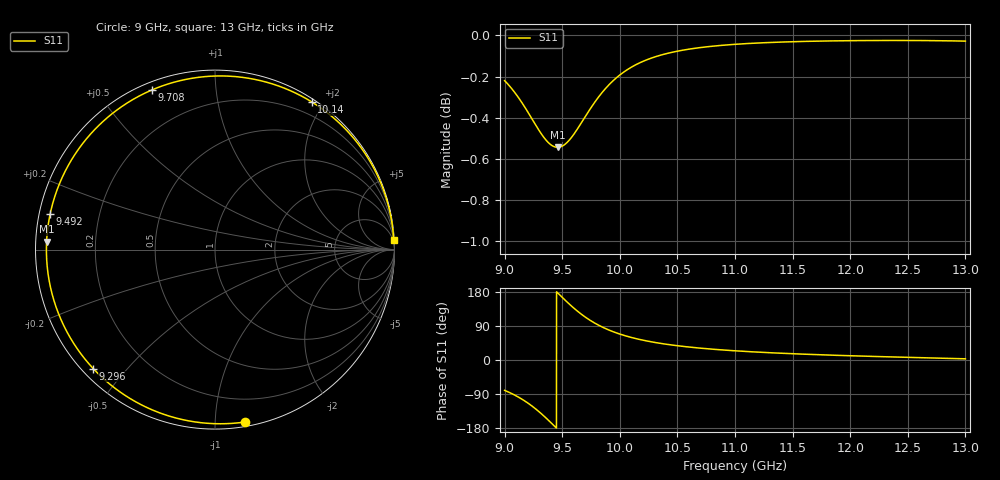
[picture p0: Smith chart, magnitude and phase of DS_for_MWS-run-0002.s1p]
! TOUCHSTONE file generated by CST DESIGN STUDIO
! Date and time: Tue Feb  4 14:13:19 2025
! Project name: C:\Work\MatlabApps\UnitCellOptimizationMatlab\CST\unitcell.cst
! Tree item: Tasks\Sweep1\SPara1\S-Parameters
! Header version: 2024
! Port assignment regex: !\s*Touchstone port\s*([0-9]+)\s*=\s*(CST MWS port|CST DES external port|CST DES block port)\s*(.+)\s* \(\"(.*)\"\)(\s*mode\s*([0-9]+))?.*
! Touchstone port assignment:
! Touchstone port 1 = CST DES external port 1 ("")
# GHz S MA R 50
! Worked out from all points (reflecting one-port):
!   4001 points, 9 GHz to 13 GHz, reference 50 ohm
!   lowest |S11| = -0.5 dB at 9.46 GHz (marker M1), VSWR 31.95, Z = 1.57 + j1.18 ohm
!   phase of S11 starts at -80 deg and turns -277 deg over the sweep
!   S11 on the Smith chart (normalised r, x): 9 GHz: 0.03, -1.19; 9.296 GHz: 0.03, -0.41; 9.492 GHz: 0.03, +0.11; 9.708 GHz: 0.03, +0.68; 10.14 GHz: 0.04, +1.85; 13 GHz: 2, +36
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9  0.975 -80.1
9.092  0.9682 -93.3
9.166  0.9616 -106.3
9.233  0.9548 -120.4
9.296  0.9485 -135.7
9.339  0.9447 -147.2
9.384  0.9415 -160.0
9.423  0.9398 -171.6
9.46  0.9393 177.3
9.492  0.9397 167.7
9.5  0.9399 165.3
9.549  0.9423 151.1
9.606  0.9466 135.6
9.656  0.9513 123.2
9.708  0.9564 111.6
9.765  0.9617 100.5
9.829  0.9672 89.8
9.912  0.9731 78.3
10  0.9781 68.4
10.136  0.9836 56.8
10.3  0.988 46.5
10.5  0.9912 37.7
10.722  0.9934 30.6
11  0.995 24.3
11.5  0.9965 16.5
12  0.9971 11.2
12.5  0.9972 7.0
13  0.9968 3.1
